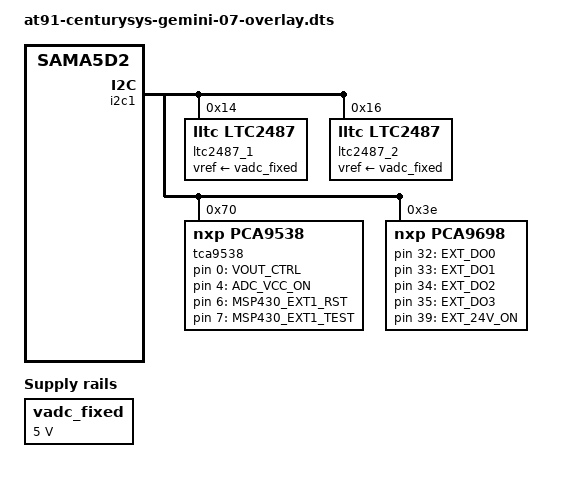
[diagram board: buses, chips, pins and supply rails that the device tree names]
// SPDX-License-Identifier: (GPL-2.0+ OR MIT)
/*
 * at91-centurysys-gemini-07-overlay.dts - Device Tree Overlay file (xio_id: 0x07)
 *                                           for Century Systems Gemini board
 *
 *  Copyright (C) 2022 Century Systems
 *                     Takeyoshi Kikuchi <kikuchi@centurysys.co.jp>
 */

/dts-v1/;
/plugin/;
#include "sama5d2-pinfunc.h"
#include <dt-bindings/mfd/atmel-flexcom.h>
#include <dt-bindings/gpio/gpio.h>
#include <dt-bindings/regulator/active-semi,8945a-regulator.h>

/ {
	compatible = "atmel,sama5d2-gemini", "atmel,sama5d2", "atmel,sama5";

	fragment@0 {
		target-path = "/";
		__overlay__ {
			vadc_fixed: fixedregulator_adc {
				compatible = "regulator-fixed";
				regulator-name = "VADC_5V";
				regulator-min-microvolt = <5000000>;
				regulator-max-microvolt = <5000000>;
			};
		};
	};

	fragment@1 {
		target = <&i2c1>;
		__overlay__ {
			#address-cells = <1>;
			#size-cells = <0>;

			/* AD Converter #1 */
			ltc2487_1: ltc2487@14 {
				compatible = "lltc,ltc2487";
				reg = <0x14>;
				vref-supply = <&vadc_fixed>;
			};

			/* AD Converter #2 */
			ltc2487_2: ltc2487@16 {
				compatible = "lltc,ltc2487";
				reg = <0x16>;
				vref-supply = <&vadc_fixed>;
			};

			tca9538: tca9538@70 {
				compatible = "nxp,pca9538";
				reg = <0x70>;
				#address-cells = <1>;
				#size-cells = <0>;
				#gpio-cells = <2>;

				gpio-line-names = "eFUSE_SHDN_N",
						  "eFUSE_FLT_N",
						  "Reserved2",
						  "Reserved3",
						  "DISO_PDIS_N",
						  "Reserved5",
						  "MSP430_EXT1_RST",
						  "MSP430_EXT1_TEST";
			};

			pca9698: pca9698@3e {
				compatible = "nxp,pca9698";
				reg = <0x3e>;
				#address-cells = <1>;
				#size-cells = <0>;
				#gpio-cells = <2>;

				gpio-line-names = "EXT_DI0", "EXT_DI1", "EXT_DI2", "EXT_DI3",
						  "EXT_DI4", "EXT_DI5", "EXT_DI6", "EXT_DI7",
						  "EXT_DI8", "EXT_DI9", "EXT_DI10", "EXT_DI11",
						  "", "", "", "EXT_24V_Fail",
						  "Filtered_DI0", "Filtered_DI1", "Filtered_DI2", "Filtered_DI3",
						  "Filtered_DI4", "Filtered_DI5", "Filtered_DI6", "Filtered_DI7",
						  "Filtered_DI8", "Filtered_DI9", "Filtered_DI10", "Filtered_DI11",
						  "", "", "", "",
						  "EXT_DO0", "EXT_DO1", "EXT_DO2", "EXT_DO3",
						  "", "", "", "EXT_24V_ON";
			};
		};
	};

	fragment@2 {
		target = <&leds>;
		__overlay__ {
			tca953x_efuse_shdn_n {
				label = "VOUT_CTRL";
				gpios = <&tca9538 0 GPIO_ACTIVE_HIGH>;
			};

			tca953x_adc_vcc_on {
				label = "ADC_VCC_ON";
				gpios = <&tca9538 4 GPIO_ACTIVE_HIGH>;
				default-state = "on";
			};

			msp430_ext1_reset {
				label = "MSP430_EXT1_RST";
				gpios = <&tca9538 6 GPIO_ACTIVE_HIGH>;
			};

			msp430_ext1_test {
				label = "MSP430_EXT1_TEST";
				gpios = <&tca9538 7 GPIO_ACTIVE_HIGH>;
			};

			ext_do0 {
				label = "EXT_DO0";
				gpios = <&pca9698 32 GPIO_ACTIVE_HIGH>;
				retain-state-suspended;
				retain-state-shutdown;
				default-state = "keep";
			};

			ext_do1 {
				label = "EXT_DO1";
				gpios = <&pca9698 33 GPIO_ACTIVE_HIGH>;
				retain-state-suspended;
				retain-state-shutdown;
				default-state = "keep";
			};

			ext_do2 {
				label = "EXT_DO2";
				gpios = <&pca9698 34 GPIO_ACTIVE_HIGH>;
				retain-state-suspended;
				retain-state-shutdown;
				default-state = "keep";
			};

			ext_do3 {
				label = "EXT_DO3";
				gpios = <&pca9698 35 GPIO_ACTIVE_HIGH>;
				retain-state-suspended;
				retain-state-shutdown;
				default-state = "keep";
			};

			ext_24v_on {
				label = "EXT_24V_ON";
				gpios = <&pca9698 39 GPIO_ACTIVE_HIGH>;
				retain-state-suspended;
				retain-state-shutdown;
				default-state = "keep";
			};
		};
	};
};
